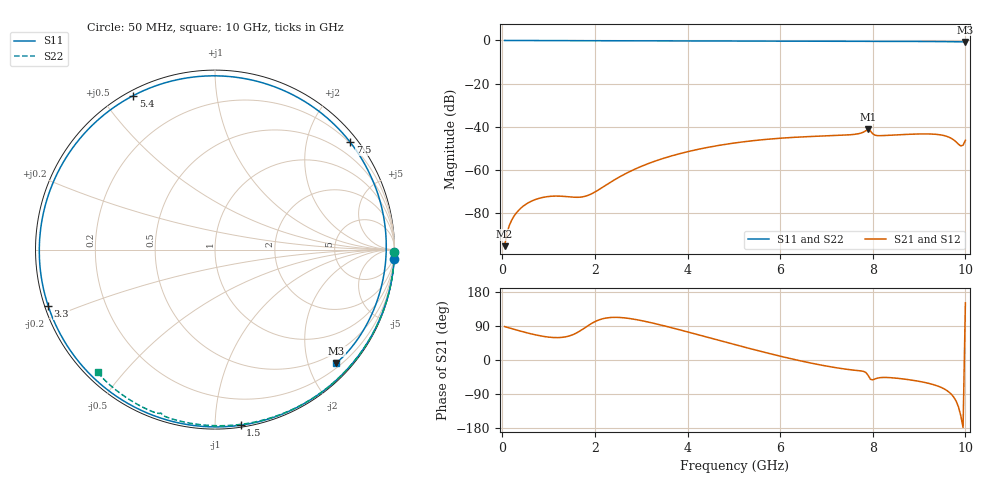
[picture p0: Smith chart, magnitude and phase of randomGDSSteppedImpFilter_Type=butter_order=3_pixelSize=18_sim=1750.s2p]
! freq	dB(S11)	phase(S11)	dB(S12)	phase(S12)
!  dB(S21)	phase(S21)	dB(S22)	phase(S22)
!S-par simulation data
#  GHz  S  DB  R 50
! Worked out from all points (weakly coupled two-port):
!   200 points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, 50 MHz to 10 GHz, reference 50 ohm
!   highest |S21| = -41.23 dB at 7.9 GHz (marker M1); lowest = -95.3 dB at 50 MHz (marker M2)
!   lowest |S11| = -0.7 dB at 10 GHz (marker M3), VSWR 25.71, Z = 14.3 - j125 ohm
!   |S11| at or under -10 dB: nowhere
!   |S22| runs from -0.5 to 0.0 dB; largest |S21 - S12| = 0
!   S11 on the Smith chart (normalised r, x): 50 MHz: 0, -40; 1.5 GHz: 0.01, -1.16; 3.3 GHz: 0.01, -0.16; 5.4 GHz: 0.02, +0.60; 7.5 GHz: 0.18, +2.85; 10 GHz: 0.29, -2.50
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0.05  -0.00 -2.9  -95.27 88.2  -95.27 88.2  -0.00 -0.8
0.3  -0.02 -17.2  -79.96 79.5  -79.96 79.5  -0.01 -4.6
0.55  -0.04 -31.2  -75.32 71.2  -75.32 71.2  -0.01 -8.4
0.85  -0.06 -47.8  -72.81 63.1  -72.81 63.1  -0.02 -12.9
1.5  -0.10 -81.7  -72.53 65.7  -72.53 65.7  -0.03 -22.6
1.75  -0.11 -93.9  -72.36 82.3  -72.36 82.3  -0.03 -26.3
2.55  -0.14 -130.3  -62.98 112.1  -62.98 112.1  -0.05 -38.0
3.3  -0.17 -161.4  -55.87 96.0  -55.87 96.0  -0.06 -48.7
3.4  -0.17 -165.3  -55.15 93.1  -55.15 93.1  -0.07 -50.1
4.2  -0.20 163.6  -50.55 67.7  -50.55 67.7  -0.09 -61.2
5.05  -0.24 131.2  -47.38 39.7  -47.38 39.7  -0.11 -72.5
5.4  -0.25 117.9  -46.46 28.5  -46.46 28.5  -0.12 -77.1
6.05  -0.28 93.1  -45.21 8.7  -45.21 8.7  -0.15 -85.4
6.7  -0.30 68.4  -44.45 -9.0  -44.45 -9.0  -0.18 -93.5
7.5  -0.34 38.5  -43.70 -25.5  -43.70 -25.5  -0.23 -103.2
7.9  -0.36 24.1  -41.23 -40.6  -41.23 -40.6  -0.35 -108.2
8.05  -0.36 18.8  -43.89 -49.9  -43.89 -49.9  -0.30 -109.3
8.35  -0.39 8.4  -43.92 -46.4  -43.92 -46.4  -0.29 -113.1
9.45  -0.52 -27.1  -43.68 -71.0  -43.68 -71.0  -0.39 -126.2
9.7  -0.57 -34.6  -45.38 -90.7  -45.38 -90.7  -0.42 -129.3
9.9  -0.63 -40.4  -48.87 -146.8  -48.87 -146.8  -0.46 -132.1
10  -0.68 -43.1  -46.25 150.7  -46.25 150.7  -0.51 -133.8
